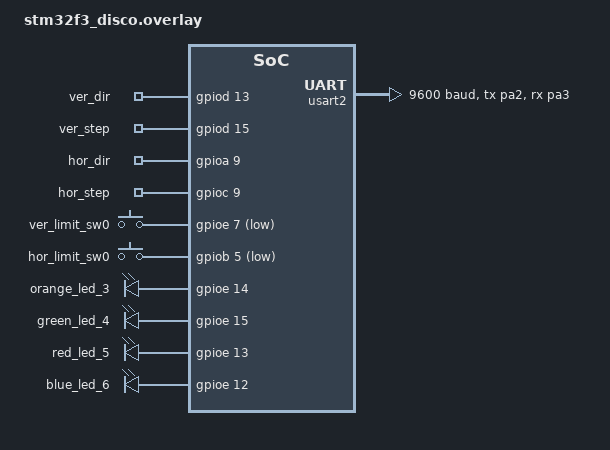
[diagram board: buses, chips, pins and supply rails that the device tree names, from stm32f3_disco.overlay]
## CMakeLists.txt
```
# SPDX-License-Identifier: Apache-2.0

cmake_minimum_required(VERSION 3.20.0)
find_package(Zephyr REQUIRED HINTS $ENV{ZEPHYR_BASE})
project(Cocktailmaschine)

target_sources(app PRIVATE src/main.c src/setup.c src/uart.c src/cocktails.c src/isr.c src/motor.c)
```

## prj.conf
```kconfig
# Peripherals
CONFIG_GPIO=y
CONFIG_SERIAL=y
CONFIG_UART_INTERRUPT_DRIVEN=y
CONFIG_PWM=y
CONFIG_REBOOT=y

# Libaries
CONFIG_JSON_LIBRARY=y

# Memory
CONFIG_MAIN_STACK_SIZE=8000
CONFIG_HEAP_MEM_POOL_SIZE=8000


# SystemView
CONFIG_TRACING=y
CONFIG_SEGGER_SYSTEMVIEW=y
```

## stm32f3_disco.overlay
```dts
/ {
    gpio-pins {
        compatible = "gpio-keys";
        ver_dir: pd13 {
            gpios = <&gpiod 13 (GPIO_ACTIVE_HIGH )>;
        };
        ver_step: pd15 {
            gpios = <&gpiod 15 (GPIO_ACTIVE_HIGH )>;
        };
        /*ver_enable: pd15 {
            gpios = <&gpiod 15 (GPIO_ACTIVE_LOW )>;
        };*/
        hor_dir: pa9 {
            gpios = <&gpioa 9 (GPIO_ACTIVE_HIGH )>;
        };
        hor_step: pc9 {
            gpios = <&gpioc 9 (GPIO_ACTIVE_HIGH )>;
        };
        /*hor_enable: pc7 {
            gpios = <&gpioc 7 (GPIO_ACTIVE_LOW )>;
        };*/
    };

    
    limit-switches {
        compatible = "gpio-keys";
        ver_limit_sw0: pe7 {
            gpios = <&gpioe 7 (GPIO_ACTIVE_LOW | GPIO_PULL_DOWN)>;
        };

        hor_limit_sw0: pb5 {
            gpios = <&gpiob 5 (GPIO_ACTIVE_LOW | GPIO_PULL_DOWN)>;
        };
    };

    led {
		compatible = "gpio-leds";
		orange_led_3: led_3 {
			gpios = <&gpioe 14 GPIO_ACTIVE_HIGH>;
		};
		green_led_4: led_4 {
			gpios = <&gpioe 15 GPIO_ACTIVE_HIGH>;
		};
		red_led_5: led_5 {
			gpios = <&gpioe 13 GPIO_ACTIVE_HIGH>;
		};
		blue_led_6: led_6 {
			gpios = <&gpioe 12 GPIO_ACTIVE_HIGH>;
		};
	};
};

usart: &usart2 {
	status = "okay";
	pinctrl-0 = <&usart2_tx_pa2 &usart2_rx_pa3 >;
	pinctrl-names = "default";
	current-speed = <9600>;
};
```

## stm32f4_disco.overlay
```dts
/ {
    gpio-pins {
        compatible = "gpio-keys";
        ver_dir: pd9 {
            gpios = <&gpiod 9 (GPIO_ACTIVE_HIGH )>;
        };
        ver_step: pd11 {
            gpios = <&gpiod 11 (GPIO_ACTIVE_HIGH )>;
        };
        /*ver_enable: pd13 {
            gpios = <&gpiod 13 (GPIO_ACTIVE_LOW )>;
        };*/
        hor_dir: pc1 {
            gpios = <&gpioc 1 (GPIO_ACTIVE_HIGH )>;
        };
        hor_step: pc3 {
            gpios = <&gpioc 3 (GPIO_ACTIVE_HIGH )>;
        };
        /*hor_enable: pa1 {
            gpios = <&gpioa 1 (GPIO_ACTIVE_LOW )>;
        };*/
    };

    
    limit-switches {
        compatible = "gpio-keys";
        ver_limit_sw0: pc15 {
            gpios = <&gpiob 8 (GPIO_ACTIVE_LOW | GPIO_PULL_DOWN)>;
        };
        /*ver_limit_sw1: pa6 {
            gpios = <&gpioa 6 (GPIO_ACTIVE_LOW | GPIO_PULL_DOWN)>;
        };*/
        hor_limit_sw0: pa5 {
            gpios = <&gpioc 7 (GPIO_ACTIVE_LOW | GPIO_PULL_DOWN)>;
        };
        /*hor_limit_sw1: pa9 {
            gpios = <&gpioa 9 (GPIO_ACTIVE_LOW | GPIO_PULL_DOWN)>;
        };*/
    };
};

usart: &usart2 {
	status = "okay";
	pinctrl-0 = <&usart2_tx_pa2 &usart2_rx_pa3 >;
	pinctrl-names = "default";
	current-speed = <9600>;
};
```

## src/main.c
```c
/*
 * Copyright (c) 2017 Linaro Limited
 *
 * SPDX-License-Identifier: Apache-2.0
 */

#include "../include/setup.h"

int ver_ready = 0;
int hor_ready = 0;

void t_horizontal_motor(void){
	int pos;
	struct q_item *item;
	uint32_t target_step_count = 0;
	while (1) {
		if (k_sem_take(&move_to_pos_sem, K_MSEC(500)) == 0) {

			ver_ready = 0;
			hor_ready = 0;

			k_mutex_lock(&block_mutex, K_FOREVER);
			resource++;
			k_mutex_unlock(&block_mutex);

			while (k_queue_is_empty(&position_q) == 0) {
				item = k_queue_get(&position_q, K_NO_WAIT);
				pos = item->data.pos;

				switch (pos) {
				case 0:
					target_step_count = POS0;
					break;
				case 1:
					target_step_count = POS1;
					break;
				case 2:
					target_step_count = POS2;
					break;
				case 3:
					target_step_count = POS3;
					break;
				default:
					halt("invalid position");
					return;
				}

				move_to_pos(target_step_count);
				k_free(item);

				k_sem_give(&fill_glass_sem);
				k_sem_take(&move_to_pos_sem, K_FOREVER);
			}
			reset_and_check();

			while(!ver_ready || !hor_ready){
				k_msleep(10);
			}
			unblock_server();
			set_status_led(STATUS_OK);
		}
		k_msleep(100);
	}
}

void t_vertical_motor(void){
	uint16_t amount;
	struct q_item *item;
	while (1) {
		if (k_sem_take(&fill_glass_sem, K_MSEC(500)) == 0) {
			while (k_queue_is_empty(&amount_q) == 0) {
				item = k_queue_get(&amount_q, K_NO_WAIT);
				amount = item->data.amount;
				amount = cocktail_size * (amount / 100);
				SEGGER_RTT_printf(0, "amount: %dml\n", item->data.amount);
				SEGGER_RTT_printf(0, "filling glass...\n");

				k_msleep(2000);
				//fill_glass(amount);

				k_free(item);
				k_sem_give(&move_to_pos_sem);
				k_sem_take(&fill_glass_sem, K_FOREVER);
			}
		}
		k_msleep(100);
	}
}

void t_led(void){
	while (1) {
		gpio_pin_toggle_dt(&orange);
		access_shared_resource2();
		k_msleep(101);
	}
}

void t_access_resource(void){
	while (1) {
		if(k_sem_take(&resource_sem, K_FOREVER) == 0) {
			if (k_mutex_lock(&block_mutex, K_NO_WAIT) == 0) {
				SEGGER_RTT_printf(0, "Resource blocked\n");
				resource = 1;
				k_msleep(10000);
				k_mutex_unlock(&block_mutex);
			}
		}
		k_msleep(100);
	}
}

void t_init_ver_motor(void){
	while(1){
		if(k_sem_take(&init_ver, K_FOREVER) == 0) {
			ver_set_starting_position();
			while(!ver_is_starting_pos() || !hor_is_starting_pos()) {
				k_msleep(10);
			}
			ver_set_dir(DOWN);
			for (int i = 0; i < 3000; i++) {
				ver_move_step();
			}
			if (!ver_is_starting_pos()) {
				k_msleep(200);
				ver_set_starting_position();
				ver_ready = 1;
			} else {
				halt("ver limit switch not wokring properly");
			}
		}
		k_msleep(1000);
	}
}

void t_init_hor_motor(void){
	while(1){
		if(k_sem_take(&init_hor, K_FOREVER) == 0) {
			hor_set_starting_position();
			while(!ver_is_starting_pos() || !hor_is_starting_pos()) {
				k_msleep(10);
			}
			k_msleep(100);
			hor_set_dir(RIGHT);
			for (int i = 0; i < 500; i++) {
				hor_move_step();
			}
			if (!hor_is_starting_pos()) {
				k_msleep(200);
				hor_set_starting_position();
				hor_ready = 1;
			} else {
				halt("hor limit switch not wokring properly");
			}
		}
		
		k_msleep(1000);
	}
}

K_THREAD_DEFINE(hor_motor, 2048, t_horizontal_motor, NULL, NULL, NULL, 4, 0, -1);
K_THREAD_DEFINE(ver_motor, 2048, t_vertical_motor, NULL, NULL, NULL, 4, 0, -1);
K_THREAD_DEFINE(led_thread, 2048, t_led, NULL, NULL, NULL, 5, 0, 0);
K_THREAD_DEFINE(access_resource, 2048, t_access_resource, NULL, NULL, NULL, 8, 0, 0);

K_THREAD_DEFINE(init_ver_motor, 2048, t_init_ver_motor, NULL, NULL, NULL, 1, 0, 0);
K_THREAD_DEFINE(init_hor_motor, 2048, t_init_hor_motor, NULL, NULL, NULL, 1, 0, 0);

void main(void){
	setup();
	uart_setup();
	isr_setup();

	set_status_led(STATUS_BLOCKED);

	SEGGER_RTT_printf(0, "%d\n", ver_is_starting_pos());
	SEGGER_RTT_printf(0, "%d\n", hor_is_starting_pos());

	while (!initialized) {
		SEGGER_RTT_printf(0, "Waiting for server...\n");
		uart_write("init\n", sizeof("init\n"));
		k_msleep(2000);
	}

	reset_and_check();

	while(!ver_ready || !hor_ready){
		k_msleep(10);
	}
	

	k_thread_start(hor_motor);
	k_thread_start(ver_motor);
	unblock_server();
	set_status_led(STATUS_OK);

	while (1) {
		k_msleep(1000);
	}
}
```

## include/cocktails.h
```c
#ifndef COCKTAILS
#define COCKTAILS

#include "setup.h"

// Struct to describe an available drink on the machine
struct drink {
    char* name;     // Name of the drink
    uint16_t position;   // Position of the bottle
};

//  Struct to describe an ingredient for a specific cocktail
//  i.e. Vodka, 20%
struct ingredient {
    struct drink drink; // Drink 
    uint16_t amount;    // Amount of drink in % to have variable drink sizes
};

// Struct to describe a cocktail 
struct cocktail {
    char* name;      // Name of the cocktail
    struct ingredient ingredients[4]; // Array of the ingredients
    uint16_t ingredient_count;  // Length of the ingredient-array
};

/**
 * Structs to hold arrays of drinks and cocktails
*/
struct drink_array { 
    struct drink drinks[4]; 
    size_t count; 
};

struct cocktail_array { 
    struct cocktail cocktails[50]; 
    size_t count; 
};

/**
 * Stucts that hold the drink and cocktail
*/
extern struct drink_array drinks;
extern struct cocktail_array cocktails;

extern struct cocktail* next_cocktail;
extern int cocktail_size;

int initialize_cocktails(void);
int initialize_drinks(void);

#endif // COKTAILS
```

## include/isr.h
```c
void isr_button(void);
void isr_rotary_encoder(void);
```

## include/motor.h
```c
#ifndef MOTOR
#define MOTOR

#include "setup.h"

/*
 * Macros
 */
#define DOWN 1
#define UP 0
#define RIGHT 1 
#define LEFT 0

#define POS0 8000
#define POS1 13300
#define POS2 18200
#define POS3 23100

#define FILL_POS 20000
#define FILL_TIME_MS 1500 

#define VER_STEP_DELAY 20
#define HOR_STEP_DELAY 700

int ver_is_starting_pos(void);

int hor_is_starting_pos(void);

void ver_set_dir(int dir);

void hor_set_dir(int dir);

void ver_move_step(void);

void hor_move_step(void);

void ver_set_starting_position(void);

void hor_set_starting_position(void);

void reset_and_check(void);

void move_to_pos(int target_pos);

void fill_glass(int ml);

#endif // MOTOR
```

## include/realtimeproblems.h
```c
#ifndef RTPROBLEMS
#define RTPROBLEMS

#include "setup.h"

void access_virtual_resource_1(void);
void access_shared_resources_2(void);

void block_resource(void);

extern struct k_mutex resource_mutex1;
extern struct k_mutex resource_mutex2;
extern struct k_mutex block_mutex;

extern struct k_sem inversion_sem;



extern int release_deadlock;
extern int resource;


#endif //RTPROBLEMS
```

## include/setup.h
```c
#include <zephyr/kernel.h>
#include <zephyr/device.h>
#include <zephyr/irq.h>
#include <zephyr/drivers/gpio.h>
#include <zephyr/drivers/pwm.h>
#include <zephyr/drivers/uart.h>
#include <zephyr/devicetree.h>
#include <string.h>
#include <stdio.h>
#include <zephyr/data/json.h>
#include <zephyr/sys/reboot.h>

#include "SEGGER_RTT.h"

#include "cocktails.h"
#include "uart.h"
#include "isr.h"
#include "motor.h"
#include "realtimeproblems.h"

/*
 * Macros
 */
#define STATUS_OK 0
#define STATUS_ERROR -1
#define STATUS_BLOCKED 1

extern int debug;

/**
 * GPIOs
 */ 
extern const struct gpio_dt_spec hor_dir_spec;
extern const struct gpio_dt_spec hor_step_spec;
extern const struct gpio_dt_spec ver_dir_spec;
extern const struct gpio_dt_spec ver_step_spec;

extern const struct gpio_dt_spec hor_limit_sw0_spec;
extern const struct gpio_dt_spec limit_sw_hor1_spec;
extern const struct gpio_dt_spec ver_limit_sw0_spec;
extern const struct gpio_dt_spec limit_sw_ver1_spec;

extern const struct gpio_dt_spec ver_enable_spec;
extern const struct gpio_dt_spec hor_enable_spec;
extern const struct gpio_dt_spec user_button_spec;
 
// LEDs
extern const struct gpio_dt_spec green;
extern const struct gpio_dt_spec red ;
extern const struct gpio_dt_spec blue;
extern const struct gpio_dt_spec orange;


/**
 * Devices
 */


/**
 * Semaphores
 */
// Coktail filling semeaphores
extern struct k_sem move_to_pos_sem;
extern struct k_sem fill_glass_sem;

// Settings semaphores
extern struct k_sem drink_sem;
extern struct k_sem cocktail_sem;
extern struct k_sem cmd_sem;

// Initialization semaphores
extern struct k_sem init_ver;
extern struct k_sem init_hor;


/**
 * Queues
 */
extern struct k_queue position_q;
extern struct k_queue amount_q;

/**
 * TIDs
*/
extern const k_tid_t hor_motor;
extern const k_tid_t ver_motor;
extern const k_tid_t led_thread;


/**
 * Global variables
 */
extern char drinks_JSON[512];
extern char cocktails_JSON[2048];

extern int ready;

extern int hor_current_pos;
extern int ver_current_pos;


/*
 * Functions
 */ 
void setup(void);
void set_status_led(int status);
```

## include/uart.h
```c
#ifndef UART
#define UART

#include "setup.h"

extern const struct device* uart_dev;
extern uint8_t initialized;

void uart_write(char* buf, int buf_size);
void rx_callback(const struct device *dev, void *user_data);
void uart_timer_cb(struct k_timer *timer_id);
void uart_setup(void);
void unblock_server(void);



struct q_item {
    void *fifo_reserved;   /* 1st word reserved for use by FIFO */
    union {
        uint16_t pos;
        uint16_t amount;
    } data;
};

#endif // UART
```

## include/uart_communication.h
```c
#include "setup.h"
//#include "cocktails.h"

extern uint8_t initialized;

void uart_write(const struct device* device, char* buf, int buf_size);
void rx_callback(const struct device *dev, void *user_data);
void uart_timer_cb(struct k_timer *timer_id);
void uart_setup(void);
```

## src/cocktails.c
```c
#include "../include/cocktails.h"

struct cocktail* current_cocktail = NULL;
int cocktail_size = 0;

/**
 * JSON descriptor for drinks
 * name: string, name of the drink
 * position: number, position on machine
*/
static const struct json_obj_descr drink_des[] = {
    JSON_OBJ_DESCR_PRIM(struct drink, name, JSON_TOK_STRING),
    JSON_OBJ_DESCR_PRIM(struct drink, position, JSON_TOK_NUMBER),
};

/**
 * JSON descriptor for ingredients
 * drink: struct drink
 * amount: number, amount of the ingredient in % 
*/
static const struct json_obj_descr ingredient_des[] = {
    JSON_OBJ_DESCR_OBJECT(struct ingredient, drink, drink_des),
    JSON_OBJ_DESCR_PRIM(struct ingredient, amount, JSON_TOK_NUMBER),
};

/**
 * JSON descriptor for cocktails
 * name: string
 * ingredients: struct ingredient[], array of ingredients for this cocktail
 * ingredient_count: number, length of ingredient array of this coocktail
*/
static const struct json_obj_descr cocktail_des[] = {
    JSON_OBJ_DESCR_PRIM(struct cocktail, name, JSON_TOK_STRING),
    JSON_OBJ_DESCR_OBJ_ARRAY(struct cocktail, ingredients, 4, ingredient_count, ingredient_des, ARRAY_SIZE(ingredient_des)),
    JSON_OBJ_DESCR_PRIM(struct cocktail, ingredient_count, JSON_TOK_NUMBER),
};

/**
 * Array descriptors to save drinks and cocktails in an array-struct
*/
static struct json_obj_descr drinks_array_des[] = {
    JSON_OBJ_DESCR_OBJ_ARRAY(struct drink_array, drinks, 4, count, drink_des, ARRAY_SIZE(drink_des)), 
};
static const struct json_obj_descr cocktails_array_des[] = {
    JSON_OBJ_DESCR_OBJ_ARRAY(struct cocktail_array, cocktails, 50, count, cocktail_des, ARRAY_SIZE(cocktail_des)), 
};

/**
 * Hold arrays for drinks and cocktails
*/
struct drink_array drinks;
struct cocktail_array cocktails;

int initialize_drinks(void){
    return json_arr_parse(drinks_JSON, sizeof(drinks_JSON), drinks_array_des, &drinks);
}

int initialize_cocktails(void){
    return json_arr_parse(cocktails_JSON, sizeof(cocktails_JSON), cocktails_array_des, &cocktails);
}
```

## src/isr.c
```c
#include "../include/isr.h"

struct gpio_callback cb_data0;
struct gpio_callback cb_data1;
struct gpio_callback cb_data2;
struct gpio_callback cb_data3;

void isr_hor_limit_sw0(void){
    // stop motor
    SEGGER_RTT_printf(0, "hor0\n");
}

void isr_ver_limit_sw0(void){
    // stop motor 
    // change direction ? 
    SEGGER_RTT_printf(0, "ver0\n");
}

void isr_user_button(){
    SEGGER_RTT_printf(0, "user button\n");
    halt("user aborted");
}

void isr_setup(void){

	gpio_pin_interrupt_configure_dt(&hor_limit_sw0_spec, GPIO_INT_EDGE_TO_ACTIVE);
    gpio_init_callback(&cb_data0, (gpio_callback_handler_t)isr_hor_limit_sw0, BIT(hor_limit_sw0_spec.pin));
	gpio_add_callback(hor_limit_sw0_spec.port, &cb_data0);

    gpio_pin_interrupt_configure_dt(&ver_limit_sw0_spec, GPIO_INT_EDGE_TO_ACTIVE);
    gpio_init_callback(&cb_data1, (gpio_callback_handler_t)isr_ver_limit_sw0, BIT(ver_limit_sw0_spec.pin));
	gpio_add_callback(ver_limit_sw0_spec.port, &cb_data1);

    gpio_pin_interrupt_configure_dt(&user_button_spec, GPIO_INT_EDGE_TO_ACTIVE);
    gpio_init_callback(&cb_data2, (gpio_callback_handler_t)isr_user_button, BIT(user_button_spec.pin));
	gpio_add_callback(user_button_spec.port, &cb_data2);

}
```

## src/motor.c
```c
#include "../include/motor.h"

// Variables that hold the position of the motors
// Position is a counter of the steps
int hor_current_pos;
int ver_current_pos;

// Checks if vertical motor is at starting position
int ver_is_starting_pos(void){
	return gpio_pin_get_dt(&ver_limit_sw0_spec);
}

// Checks if horizontal motor is at starting position
int hor_is_starting_pos(void){
	return gpio_pin_get_dt(&hor_limit_sw0_spec);
}

// Set direction of vertical motor
void ver_set_dir(int dir){
    gpio_pin_set_dt(&ver_dir_spec, dir);
}

// Set direction of horizontal motor
void hor_set_dir(int dir){
    gpio_pin_set_dt(&hor_dir_spec, dir);
}

void ver_move_step(void){
	access_virtual_resource_1();

	gpio_pin_toggle_dt(&ver_step_spec);
	k_usleep(VER_STEP_DELAY);
	gpio_pin_toggle_dt(&ver_step_spec);
	k_usleep(VER_STEP_DELAY);
}

// Take one one step with horizontal motor
void hor_move_step(void){
	access_virtual_resource_1();
	
	gpio_pin_toggle_dt(&hor_step_spec);
	k_usleep(HOR_STEP_DELAY);
	gpio_pin_toggle_dt(&hor_step_spec);
	k_usleep(HOR_STEP_DELAY);

}

// Moves hor motor to starting position
void hor_set_starting_position(void){
    hor_set_dir(LEFT);
	while(!hor_is_starting_pos()){
		hor_move_step();
	}
	gpio_pin_set_dt(&hor_step_spec, 0);
	hor_current_pos = 0;
}

void ver_set_starting_position(void){
	ver_set_dir(UP);
	while(!ver_is_starting_pos()){
		ver_move_step();
	}
	gpio_pin_set_dt(&ver_step_spec, 0);
	ver_current_pos = 0;
}

// Moves both motors to starting positions and checks if limit switches work correctly
void reset_and_check(void){
	k_sem_give(&init_ver);
	k_sem_give(&init_hor);
}

// Moves horizontal motor to a targetes position
void move_to_pos(int target_pos){
	if(hor_current_pos < target_pos){
        hor_set_dir(RIGHT);
		while(hor_current_pos < target_pos){
			hor_move_step();
			hor_current_pos++;
		}
	}
	else{
        hor_set_dir(LEFT);
		while(hor_current_pos > target_pos){
			hor_move_step();
			hor_current_pos--;
		}
	}
}

// Fills glass with the desired amount in ml by 
// repeatedly moving the vertical motor up and down 
void fill_glass(int ml){
	int remaining_ml = ml;
	int next_fill_pos;
	int next_fill_time;

	while(1){
		if(remaining_ml == 0){
			return;
		}

		ver_set_dir(DOWN);
		next_fill_pos = FILL_POS;
		next_fill_time = FILL_TIME_MS;

		if(remaining_ml < 10){
			next_fill_pos -= 1000;
			next_fill_time = 0;
		}
		else if(remaining_ml < 20){
			next_fill_pos -= 600;
			next_fill_time = 0;
		}
		else if (remaining_ml < 30){
			next_fill_pos -= 200;
			next_fill_time = 0;
		}
		else if (remaining_ml < 40){
			next_fill_time = 400;
		}

		for(int i = 0; i < next_fill_pos; i++){
			ver_move_step();
		}
		k_msleep(next_fill_time);

		if(remaining_ml >= 40){
			remaining_ml -= 40;
		}
		else {
			remaining_ml = 0;
		}

		ver_set_starting_position();
	}
}
```

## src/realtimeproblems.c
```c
#include "../include/realtimeproblems.h"

K_MUTEX_DEFINE(resource_mutex1);
K_MUTEX_DEFINE(resource_mutex2);
K_MUTEX_DEFINE(block_mutex);

K_SEM_DEFINE(inversion_sem, 0, 1);


int release_deadlock = 0;
int resource = 0;


void access_virtual_resource_1(void){
    // Try to lock mutex1
    while(k_mutex_lock(&resource_mutex1, K_NO_WAIT) != 0) {
        k_usleep(1);
    }
    k_usleep(1);    
    // Try to lock mutex2
    while(k_mutex_lock(&resource_mutex2, K_NO_WAIT) !=0){
        k_usleep(1);
    }
    
    // Resource should be accessed here
    //
    //
    
    // Unlock mutexes
    k_mutex_unlock(&resource_mutex1);
    k_mutex_unlock(&resource_mutex2);
}


void access_shared_resources_2(void){
    // Try to lock mutex2
    while(k_mutex_lock(&resource_mutex2, K_NO_WAIT) != 0) {
        k_usleep(1);
    } 
    k_usleep(1);  
    // Try to lock mutex1
    while(k_mutex_lock(&resource_mutex1, K_NO_WAIT) != 0){
        k_usleep(1);
    }
    
    // Resource should be accessed here
    //
    //

    // Unlock mutexes
    k_mutex_unlock(&resource_mutex2);
    k_mutex_unlock(&resource_mutex1);
}

void block_resource(void){
    k_mutex_lock(&resource_mutex1, K_FOREVER);
    k_msleep(5000);
    k_mutex_unlock(&resource_mutex1);
}
```

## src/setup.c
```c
#include "../include/setup.h"
#include "SEGGER_RTT_printf.c"
int debug = 1;

// Basic Variables
int ready = 0;

// Semaphores
K_SEM_DEFINE(move_to_pos_sem, 0, 1);
K_SEM_DEFINE(fill_glass_sem, 0, 1);
K_SEM_DEFINE(drink_sem, 0, 1);
K_SEM_DEFINE(cocktail_sem, 0, 1);
K_SEM_DEFINE(init_ver, 0, 1);
K_SEM_DEFINE(init_hor, 0, 1);

// Queue
K_QUEUE_DEFINE(position_q);
K_QUEUE_DEFINE(amount_q);

// GPIOS
const struct gpio_dt_spec ver_step_spec = GPIO_DT_SPEC_GET(DT_NODELABEL(ver_step), gpios);
const struct gpio_dt_spec ver_dir_spec = GPIO_DT_SPEC_GET(DT_NODELABEL(ver_dir), gpios);
const struct gpio_dt_spec ver_enable_spec = GPIO_DT_SPEC_GET(DT_NODELABEL(ver_enable), gpios);

const struct gpio_dt_spec hor_step_spec = GPIO_DT_SPEC_GET(DT_NODELABEL(hor_step), gpios);
const struct gpio_dt_spec hor_dir_spec = GPIO_DT_SPEC_GET(DT_NODELABEL(hor_dir), gpios);
const struct gpio_dt_spec hor_enable_spec = GPIO_DT_SPEC_GET(DT_NODELABEL(hor_enable), gpios);

const struct gpio_dt_spec ver_limit_sw0_spec = GPIO_DT_SPEC_GET(DT_NODELABEL(ver_limit_sw0), gpios);
const struct gpio_dt_spec hor_limit_sw0_spec = GPIO_DT_SPEC_GET(DT_NODELABEL(hor_limit_sw0), gpios);
const struct gpio_dt_spec user_button_spec = GPIO_DT_SPEC_GET(DT_NODELABEL(user_button), gpios);




// Status LEDs
const struct gpio_dt_spec green = GPIO_DT_SPEC_GET(DT_NODELABEL(green_led_4), gpios);
const struct gpio_dt_spec red = GPIO_DT_SPEC_GET(DT_NODELABEL(red_led_5), gpios);

const struct gpio_dt_spec blue = GPIO_DT_SPEC_GET(DT_NODELABEL(blue_led_6), gpios);
const struct gpio_dt_spec orange = GPIO_DT_SPEC_GET(DT_NODELABEL(orange_led_3), gpios);

void setup(void){

    gpio_pin_configure_dt(&hor_dir_spec, GPIO_OUTPUT_INACTIVE);
    gpio_pin_configure_dt(&hor_step_spec, GPIO_OUTPUT_INACTIVE);
    gpio_pin_configure_dt(&hor_enable_spec, GPIO_OUTPUT_ACTIVE);

    gpio_pin_configure_dt(&ver_dir_spec, GPIO_OUTPUT_INACTIVE);
    gpio_pin_configure_dt(&ver_step_spec, GPIO_OUTPUT_INACTIVE);
    gpio_pin_configure_dt(&ver_enable_spec, GPIO_OUTPUT_ACTIVE);


    gpio_pin_configure_dt(&hor_limit_sw0_spec, GPIO_INPUT);
    gpio_pin_configure_dt(&ver_limit_sw0_spec, GPIO_INPUT);
    gpio_pin_configure_dt(&user_button_spec, GPIO_INPUT);


    gpio_pin_configure_dt(&green, GPIO_OUTPUT_INACTIVE);    
    gpio_pin_configure_dt(&red, GPIO_OUTPUT_INACTIVE);
    
    gpio_pin_configure_dt(&blue, GPIO_OUTPUT_INACTIVE);
    gpio_pin_configure_dt(&orange, GPIO_OUTPUT_INACTIVE);


}

void set_status_led(int status){    

    gpio_pin_set_dt(&green, 0);
    gpio_pin_set_dt(&red, 0);
    gpio_pin_set_dt(&blue, 0);

    switch (status){
        case STATUS_OK:
            gpio_pin_set_dt(&green, 1);
            break;

        case STATUS_ERROR:
            gpio_pin_set_dt(&red, 1);
            break;

        case STATUS_BLOCKED:
            gpio_pin_set_dt(&blue, 1);
            break;

        default:
            break;
    }
}

void halt(char* msg){
    set_status_led(STATUS_ERROR);
    SEGGER_RTT_printf(0, "Error: %s\n", msg);
    k_panic();
}
```
